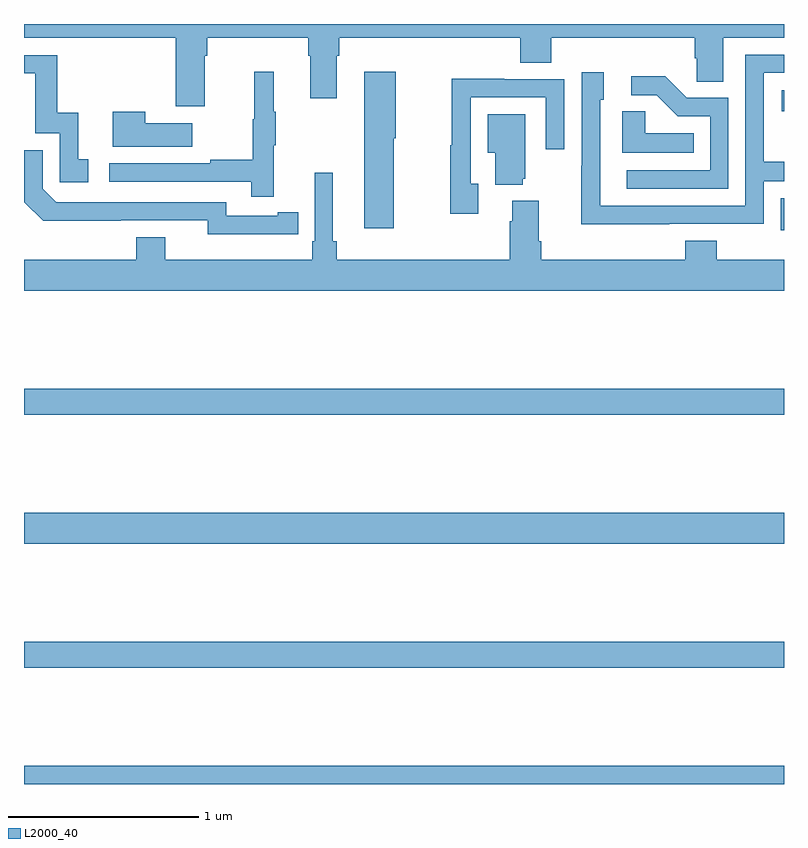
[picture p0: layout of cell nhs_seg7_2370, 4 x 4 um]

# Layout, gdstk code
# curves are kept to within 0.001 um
import gdstk
lib = gdstk.Library(unit=1e-6, precision=1e-09)
def R(c, l, rs):  # rectangles x0, y0, x1, y1
    for r in rs: c.add(gdstk.rectangle(r[:2], r[2:], *l))
def P(c, l, *ps):  # polygons
    for p in ps: c.add(gdstk.Polygon(p, *l))
L2000_40 = (2000, 40)

nhs_seg7_2370 = lib.new_cell('nhs_seg7_2370')
R(nhs_seg7_2370, L2000_40, [(265,1018,269,1018.096), (265,1018.612,269,1018.748), (265,1019.264,269,1019.428), (265,1019.944,269,1020.08), (268.983,1020.915,269,1021.083), (268.989,1021.541,269,1021.651)])
P(nhs_seg7_2370, L2000_40, [(265.951,1021.832),(265.964,1021.832),(265.964,1021.928),(266.495,1021.928),(266.495,1021.832),(266.507,1021.832),(266.507,1021.608),(266.647,1021.608),(266.647,1021.832),(266.66,1021.832),(266.66,1021.928),(267.611,1021.928),(267.611,1021.795),(267.776,1021.795),(267.776,1021.928),(268.529,1021.928),(268.529,1021.819),(268.542,1021.819),(268.542,1021.696),(268.681,1021.696),(268.681,1021.928),(269,1021.928),(269,1022),(265,1022),(265,1021.928),(265.799,1021.928),(265.799,1021.566),(265.951,1021.566)],
  [(268.397,1020.948),(268.893,1020.948),(268.893,1021.173),(269,1021.173),(269,1021.274),(268.893,1021.274),(268.893,1021.743),(269,1021.743),(269,1021.839),(268.797,1021.839),(268.797,1021.044),(268.032,1021.044),(268.032,1021.602),(268.051,1021.602),(268.051,1021.747),(267.936,1021.747),(267.936,1021.253),(267.934,1021.253),(267.934,1020.947),(268.397,1020.947)],
  [(265.339,1021.287),(265.286,1021.287),(265.286,1021.534),(265.175,1021.534),(265.175,1021.836),(265,1021.836),(265,1021.74),(265.059,1021.74),(265.059,1021.425),(265.188,1021.425),(265.188,1021.167),(265.339,1021.167)],
  [(266.315,1021.363),(266.326,1021.363),(266.326,1021.537),(266.315,1021.537),(266.315,1021.75),(266.212,1021.75),(266.212,1021.5),(266.205,1021.5),(266.205,1021.286),(265.981,1021.286),(265.981,1021.266),(265.449,1021.266),(265.449,1021.17),(266.197,1021.17),(266.197,1021.092),(266.315,1021.092)],
  [(266.946,1021.398),(266.956,1021.398),(266.956,1021.75),(266.792,1021.75),(266.792,1020.924),(266.946,1020.924)],
  [(268.707,1021.611),(268.488,1021.611),(268.375,1021.724),(268.197,1021.724),(268.197,1021.626),(268.331,1021.626),(268.442,1021.515),(268.611,1021.515),(268.611,1021.23),(268.173,1021.23),(268.173,1021.134),(268.707,1021.134)],
  [(267.391,1021.158),(267.351,1021.158),(267.351,1021.614),(267.747,1021.614),(267.747,1021.341),(267.843,1021.341),(267.843,1021.71),(267.527,1021.71),(267.527,1021.712),(267.25,1021.712),(267.25,1021.361),(267.243,1021.361),(267.243,1021.002),(267.391,1021.002)],
  [(268.526,1021.426),(268.269,1021.426),(268.269,1021.541),(268.148,1021.541),(268.148,1021.322),(268.526,1021.322)],
  [(265.885,1021.477),(265.637,1021.477),(265.637,1021.537),(265.466,1021.537),(265.466,1021.355),(265.885,1021.355)],
  [(267.626,1021.185),(267.637,1021.185),(267.637,1021.525),(267.44,1021.525),(267.44,1021.322),(267.479,1021.322),(267.479,1021.154),(267.626,1021.154)],
  [(266.336,1020.894),(266.444,1020.894),(266.444,1021.01),(266.336,1021.01),(266.336,1020.99),(266.064,1020.99),(266.064,1021.062),(265.17,1021.062),(265.098,1021.134),(265.098,1021.335),(265,1021.335),(265,1021.239),(265.002,1021.239),(265.002,1021.062),(265.1,1020.965),(265.968,1020.966),(265.968,1020.893)],
  [(265.592,1020.877),(265.592,1020.76),(265,1020.76),(265,1020.596),(269,1020.596),(269,1020.76),(268.646,1020.76),(268.646,1020.859),(268.481,1020.859),(268.481,1020.76),(267.722,1020.76),(267.722,1020.856),(267.709,1020.856),(267.709,1021.069),(267.569,1021.069),(267.569,1020.962),(267.557,1020.962),(267.557,1020.76),(266.645,1020.76),(266.645,1020.856),(266.626,1020.856),(266.626,1021.216),(266.529,1021.216),(266.529,1020.856),(266.516,1020.856),(266.516,1020.76),(265.744,1020.76),(265.744,1020.877)])

lib.write_gds('nhs_seg7_2370.gds')
